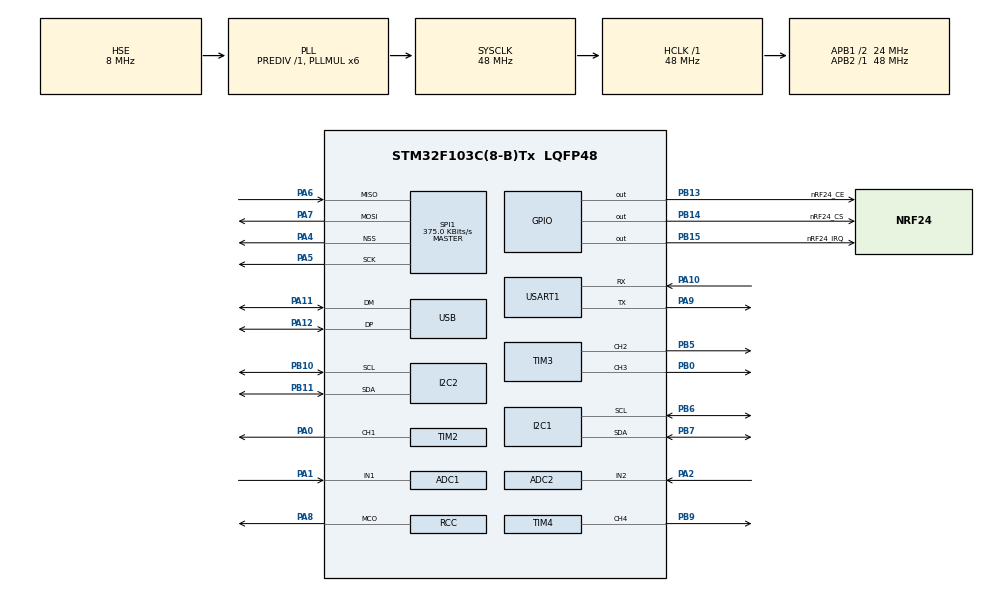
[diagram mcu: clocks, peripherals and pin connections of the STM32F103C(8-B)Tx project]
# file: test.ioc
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ADC1.Channel-24\#ChannelRegularConversion=ADC_CHANNEL_1
ADC1.NbrOfConversionFlag=1
ADC1.Rank-24\#ChannelRegularConversion=1
ADC1.SamplingTime-24\#ChannelRegularConversion=ADC_SAMPLETIME_1CYCLE_5
ADC1.master=1
ADC2.Channel-8\#ChannelRegularConversion=ADC_CHANNEL_2
ADC2.NbrOfConversionFlag=1
ADC2.Rank-8\#ChannelRegularConversion=1
ADC2.SamplingTime-8\#ChannelRegularConversion=ADC_SAMPLETIME_1CYCLE_5
Mcu.Family=STM32F1
Mcu.Name=STM32F103C(8-B)Tx
Mcu.Package=LQFP48
NVIC.PriorityGroup=NVIC_PRIORITYGROUP_4
PA0-WKUP.Signal=S_TIM2_CH1_ETR
PA1.Signal=ADCx_IN1
PA10.Mode=Asynchronous
PA10.Signal=USART1_RX
PA11.Mode=Device
PA11.Signal=USB_DM
PA12.Mode=Device
PA12.Signal=USB_DP
PA13.Mode=JTAG_5_pins
PA13.Signal=SYS_JTMS-SWDIO
PA14.Mode=JTAG_5_pins
PA14.Signal=SYS_JTCK-SWCLK
PA15.Mode=JTAG_5_pins
PA15.Signal=SYS_JTDI
PA2.Signal=ADCx_IN2
PA4.Mode=NSS_Signal_Hard_Output
PA4.Signal=SPI1_NSS
PA5.Mode=Full_Duplex_Master
PA5.Signal=SPI1_SCK
PA6.Mode=Full_Duplex_Master
PA6.Signal=SPI1_MISO
PA7.Mode=Full_Duplex_Master
PA7.Signal=SPI1_MOSI
PA8.Mode=Clock-out
PA8.Signal=RCC_MCO
PA9.Mode=Asynchronous
PA9.Signal=USART1_TX
PB0.Signal=S_TIM3_CH3
PB10.Mode=I2C
PB10.Signal=I2C2_SCL
PB11.Mode=I2C
PB11.Signal=I2C2_SDA
PB13.GPIO_Label=nRF24_CE
PB13.Signal=GPIO_Output
PB14.GPIO_Label=nRF24_CS
PB14.Signal=GPIO_Output
PB15.GPIO_Label=nRF24_IRQ
PB15.Signal=GPIO_Output
PB3.Mode=JTAG_5_pins
PB3.Signal=SYS_JTDO-TRACESWO
PB4.Mode=JTAG_5_pins
PB4.Signal=SYS_NJTRST
PB5.Signal=S_TIM3_CH2
PB6.Mode=I2C
PB6.Signal=I2C1_SCL
PB7.Mode=I2C
PB7.Signal=I2C1_SDA
PB9.Signal=S_TIM4_CH4
PD0-OSC_IN.Mode=HSE-External-Oscillator
PD0-OSC_IN.Signal=RCC_OSC_IN
PD1-OSC_OUT.Mode=HSE-External-Oscillator
PD1-OSC_OUT.Signal=RCC_OSC_OUT
ProjectManager.HeapSize=0x200
ProjectManager.StackSize=0x400
ProjectManager.TargetToolchain=SW4STM32
RCC.ADCPresc=RCC_ADCPCLK2_DIV4
RCC.AHBFreq_Value=48000000
RCC.APB1CLKDivider=RCC_HCLK_DIV2
RCC.APB1Freq_Value=24000000
RCC.APB1TimFreq_Value=48000000
RCC.APB2Freq_Value=48000000
RCC.APB2TimFreq_Value=48000000
RCC.HCLKFreq_Value=48000000
RCC.PLLMUL=RCC_PLL_MUL6
RCC.SYSCLKFreq_VALUE=48000000
RCC.SYSCLKSource=RCC_SYSCLKSOURCE_PLLCLK
RCC.USBFreq_Value=48000000
SH.ADCx_IN1.0=ADC1_IN1,IN1
SH.ADCx_IN2.0=ADC2_IN2,IN2
SH.S_TIM2_CH1_ETR.0=TIM2_CH1,PWM Generation1 CH1
SH.S_TIM3_CH2.0=TIM3_CH2,PWM Generation2 CH2
SH.S_TIM3_CH3.0=TIM3_CH3,PWM Generation3 CH3
SH.S_TIM4_CH4.0=TIM4_CH4,PWM Generation4 CH4
SPI1.BaudRatePrescaler=SPI_BAUDRATEPRESCALER_128
SPI1.CalculateBaudRate=375.0 KBits/s
SPI1.Direction=SPI_DIRECTION_2LINES
SPI1.Mode=SPI_MODE_MASTER
SPI1.VirtualNSS=VM_NSSHARD
SPI1.VirtualType=VM_MASTER
TIM2.Channel-PWM\ Generation1\ CH1=TIM_CHANNEL_1
TIM3.Channel-PWM\ Generation2\ CH2=TIM_CHANNEL_2
TIM3.Channel-PWM\ Generation3\ CH3=TIM_CHANNEL_3
TIM4.Channel-PWM\ Generation4\ CH4=TIM_CHANNEL_4
USART1.VirtualMode=VM_ASYNC
board=custom

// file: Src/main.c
/**
  ******************************************************************************
  * @file           : main.c
  * @brief          : Main program body
  ******************************************************************************
  ** This notice applies to any and all portions of this file
  * that are not between comment pairs USER CODE BEGIN and
  * USER CODE END. Other portions of this file, whether
  * inserted by the user or by software development tools
  * are owned by their respective copyright owners.
  *
  * COPYRIGHT(c) 2018 STMicroelectronics
  *
  * Redistribution and use in source and binary forms, with or without modification,
  * are permitted provided that the following conditions are met:
  *   1. Redistributions of source code must retain the above copyright notice,
  *      this list of conditions and the following disclaimer.
  *   2. Redistributions in binary form must reproduce the above copyright notice,
  *      this list of conditions and the following disclaimer in the documentation
  *      and/or other materials provided with the distribution.
  *   3. Neither the name of STMicroelectronics nor the names of its contributors
  *      may be used to endorse or promote products derived from this software
  *      without specific prior written permission.
  *
  * THIS SOFTWARE IS PROVIDED BY THE COPYRIGHT HOLDERS AND CONTRIBUTORS "AS IS"
  * AND ANY EXPRESS OR IMPLIED WARRANTIES, INCLUDING, BUT NOT LIMITED TO, THE
  * IMPLIED WARRANTIES OF MERCHANTABILITY AND FITNESS FOR A PARTICULAR PURPOSE ARE
  * DISCLAIMED. IN NO EVENT SHALL THE COPYRIGHT HOLDER OR CONTRIBUTORS BE LIABLE
  * FOR ANY DIRECT, INDIRECT, INCIDENTAL, SPECIAL, EXEMPLARY, OR CONSEQUENTIAL
  * DAMAGES (INCLUDING, BUT NOT LIMITED TO, PROCUREMENT OF SUBSTITUTE GOODS OR
  * SERVICES; LOSS OF USE, DATA, OR PROFITS; OR BUSINESS INTERRUPTION) HOWEVER
  * CAUSED AND ON ANY THEORY OF LIABILITY, WHETHER IN CONTRACT, STRICT LIABILITY,
  * OR TORT (INCLUDING NEGLIGENCE OR OTHERWISE) ARISING IN ANY WAY OUT OF THE USE
  * OF THIS SOFTWARE, EVEN IF ADVISED OF THE POSSIBILITY OF SUCH DAMAGE.
  *
  ******************************************************************************
  */
#include "main.h"
#include "stm32f1xx_hal.h"
#include "adc.h"
#include "i2c.h"
#include "spi.h"
#include "tim.h"
#include "usart.h"
#include "usb.h"
#include "gpio.h"

/* USER CODE BEGIN Includes */
#include "nrf24.h"

#include  <errno.h>
#include  <sys/unistd.h> // STDOUT_FILENO, STDERR_FILENO
/* USER CODE END Includes */

/* USER CODE BEGIN PV */
/* Private variables ---------------------------------------------------------*/
uint8_t receiver = 1;
/* USER CODE END PV */

void SystemClock_Config(void);

/* USER CODE BEGIN PFP */
/* Private function prototypes -----------------------------------------------*/

/* USER CODE END PFP */

int main(void)
{

  /* MCU Configuration----------------------------------------------------------*/

  /* Reset of all peripherals, Initializes the Flash interface and the Systick. */
  HAL_Init();

  /* Configure the system clock */
  SystemClock_Config();

  /* Initialize all configured peripherals */
  MX_GPIO_Init();
  MX_ADC1_Init();
  MX_ADC2_Init();
  MX_I2C1_Init();
  MX_I2C2_Init();
  MX_SPI1_Init();
  MX_TIM2_Init();
  MX_TIM3_Init();
  MX_TIM4_Init();
  MX_USART1_UART_Init();
  MX_USB_PCD_Init();
  /* USER CODE BEGIN 2 */
  nRF24_GPIO_Init();
  if (receiver == 1){
	  uint8_t ADDR[] = { 'n', 'R', 'F', '2', '4' }; // the address for RX pipe
	  nRF24_DisableAA(0xFF); // disable ShockBurst
	  nRF24_SetRFChannel(90); // set RF channel to 2490MHz
	  nRF24_SetDataRate(nRF24_DR_2Mbps); // 2Mbit/s data rate
	  nRF24_SetCRCScheme(nRF24_CRC_1byte); // 1-byte CRC scheme
	  nRF24_SetAddrWidth(5); // address width is 5 bytes
	  nRF24_SetAddr(nRF24_PIPE1, ADDR); // program pipe address
	  nRF24_SetRXPipe(nRF24_PIPE1, nRF24_AA_OFF, 10); // enable RX pipe#1 with Auto-ACK: disabled, payload length: 10 bytes
	  nRF24_SetOperationalMode(nRF24_MODE_RX); // switch transceiver to the RX mode
	  nRF24_SetPowerMode(nRF24_PWR_UP); // wake-up transceiver (in case if it sleeping)
	  nRF24_CE_H();
  } else {
	  uint8_t ADDR[] = { 'n', 'R', 'F', '2', '4' }; // the TX address
	  nRF24_DisableAA(0xFF); // disable ShockBurst
	  nRF24_SetRFChannel(90); // set RF channel to 2490MHz
	  nRF24_SetDataRate(nRF24_DR_2Mbps); // 2Mbit/s data rate
	  nRF24_SetCRCScheme(nRF24_CRC_1byte); // 1-byte CRC scheme
	  nRF24_SetAddrWidth(5); // address width is 5 bytes
	  nRF24_SetTXPower(nRF24_TXPWR_0dBm); // configure TX power
	  nRF24_SetAddr(nRF24_PIPETX, ADDR); // program TX address
	  nRF24_SetOperationalMode(nRF24_MODE_TX); // switch transceiver to the TX mode
	  nRF24_SetPowerMode(nRF24_PWR_UP); // wake-up transceiver (in case if it sleeping)
  }
  /* USER CODE END 2 */

  /* Infinite loop */
  /* USER CODE BEGIN WHILE */
  while(1){
	  //printf("Hello World!");
	  nRF24_DumpConfig();
	  while(1){

	  }
  }
  if (receiver == 1){
	  uint8_t nRF24_payload[32]; // buffer for payload
	  uint8_t payload_length; // variable to store a length of received payload
	  uint8_t pipe; // pipe number
	  nRF24_CE_H(); // start receiving
	  while (1) {
	      // constantly poll the status of RX FIFO...
	      if (nRF24_GetStatus_RXFIFO() != nRF24_STATUS_RXFIFO_EMPTY) {
	          // the RX FIFO have some data, take a note what nRF24 can hold up to three payloads of 32 bytes...
	          pipe = nRF24_ReadPayload(nRF24_payload, &payload_length); // read a payload to buffer
	          nRF24_ClearIRQFlags(); // clear any pending IRQ bits
	          // now the nRF24_payload buffer holds received data
	          // payload_length variable holds a length of received data
	          // pipe variable holds a number of the pipe which has received the data
	          // ... do something with received data ...
	      }
	  }
  } else {
	  while(1){
		  uint8_t status;
		  nRF24_WritePayload("Hello", 5); // transfer payload data to transceiver
		  nRF24_CE_H(); // assert CE pin (transmission starts)
		  while (1) {
			  status = nRF24_GetStatus();
			  if (status & (nRF24_FLAG_TX_DS | nRF24_FLAG_MAX_RT)) {
				  // transmission ended, exit loop
				  break;
			  }
		  }
		  nRF24_CE_H(); // de-assert CE pin (nRF24 goes to StandBy-I mode)
		  nRF24_ClearIRQFlags(); // clear any pending IRQ flags
		  if (status & nRF24_FLAG_MAX_RT) {
			  // Auto retransmit counter exceeds the programmed maximum limit (payload in FIFO is not removed)
			  // Also the software can flush the TX FIFO here...
			  status = -1;
		  }
		  if (status & nRF24_FLAG_TX_DS) {
			  // Successful transmission
			  status = 1;
		  }
	  }
  }
  /* USER CODE END WHILE */

}
void SystemClock_Config(void)
{

  RCC_OscInitTypeDef RCC_OscInitStruct;
  RCC_ClkInitTypeDef RCC_ClkInitStruct;
  RCC_PeriphCLKInitTypeDef PeriphClkInit;

    /**Initializes the CPU, AHB and APB busses clocks
    */
  RCC_OscInitStruct.OscillatorType = RCC_OSCILLATORTYPE_HSE;
  RCC_OscInitStruct.HSEState = RCC_HSE_ON;
  RCC_OscInitStruct.HSEPredivValue = RCC_HSE_PREDIV_DIV1;
  RCC_OscInitStruct.HSIState = RCC_HSI_ON;
  RCC_OscInitStruct.PLL.PLLState = RCC_PLL_ON;
  RCC_OscInitStruct.PLL.PLLSource = RCC_PLLSOURCE_HSE;
  RCC_OscInitStruct.PLL.PLLMUL = RCC_PLL_MUL6;
  if (HAL_RCC_OscConfig(&RCC_OscInitStruct) != HAL_OK)
  {
    _Error_Handler(__FILE__, __LINE__);
  }

    /**Initializes the CPU, AHB and APB busses clocks
    */
  RCC_ClkInitStruct.ClockType = RCC_CLOCKTYPE_HCLK|RCC_CLOCKTYPE_SYSCLK
                              |RCC_CLOCKTYPE_PCLK1|RCC_CLOCKTYPE_PCLK2;
  RCC_ClkInitStruct.SYSCLKSource = RCC_SYSCLKSOURCE_PLLCLK;
  RCC_ClkInitStruct.AHBCLKDivider = RCC_SYSCLK_DIV1;
  RCC_ClkInitStruct.APB1CLKDivider = RCC_HCLK_DIV2;
  RCC_ClkInitStruct.APB2CLKDivider = RCC_HCLK_DIV1;

  if (HAL_RCC_ClockConfig(&RCC_ClkInitStruct, FLASH_LATENCY_1) != HAL_OK)
  {
    _Error_Handler(__FILE__, __LINE__);
  }

  PeriphClkInit.PeriphClockSelection = RCC_PERIPHCLK_ADC|RCC_PERIPHCLK_USB;
  PeriphClkInit.AdcClockSelection = RCC_ADCPCLK2_DIV4;
  PeriphClkInit.UsbClockSelection = RCC_USBCLKSOURCE_PLL;
  if (HAL_RCCEx_PeriphCLKConfig(&PeriphClkInit) != HAL_OK)
  {
    _Error_Handler(__FILE__, __LINE__);
  }

  HAL_RCC_MCOConfig(RCC_MCO, RCC_MCO1SOURCE_SYSCLK, RCC_MCODIV_1);

    /**Configure the Systick interrupt time
    */
  HAL_SYSTICK_Config(HAL_RCC_GetHCLKFreq()/1000);

    /**Configure the Systick
    */
  HAL_SYSTICK_CLKSourceConfig(SYSTICK_CLKSOURCE_HCLK);

  /* SysTick_IRQn interrupt configuration */
  HAL_NVIC_SetPriority(SysTick_IRQn, 0, 0);
}

/* USER CODE BEGIN 4 */

int _write(int file, char *data, int len)
{
   if ((file != STDOUT_FILENO) && (file != STDERR_FILENO))
   {
      errno = EBADF;
      return -1;
   }

   // arbitrary timeout 1000
   HAL_StatusTypeDef status =
      HAL_UART_Transmit(&huart1, (uint8_t*)data, len, HAL_MAX_DELAY);

   // return # of bytes written - as best we can tell
   return (status == HAL_OK ? len : 0);
}

/* USER CODE END 4 */

void _Error_Handler(char *file, int line)
{
  while(1)
  {
  }
}

/************************ (C) COPYRIGHT STMicroelectronics *****END OF FILE****/
